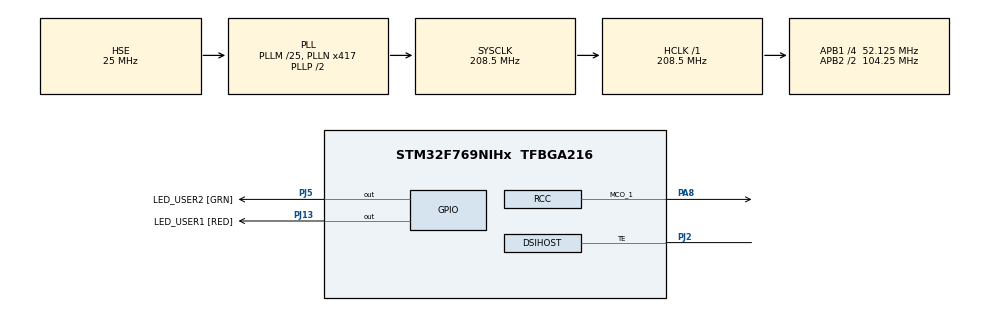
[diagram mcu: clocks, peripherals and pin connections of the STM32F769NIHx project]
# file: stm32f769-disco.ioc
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DSIHOST.AutomaticRefresh=DSI_AR_ENABLE
DSIHOST.BTA_FlowControl=__NULL
DSIHOST.LPDcsLongWrite=DSI_LP_DLW_ENABLE
DSIHOST.LPDcsShortReadNoP=DSI_LP_DSR0P_ENABLE
DSIHOST.LPDcsShortWriteNoP=DSI_LP_DSW0P_ENABLE
DSIHOST.LPDcsShortWriteOneP=DSI_LP_DSW1P_ENABLE
DSIHOST.LPGenLongWrite=DSI_LP_GLW_ENABLE
DSIHOST.LPGenShortReadNoP=DSI_LP_GSR0P_ENABLE
DSIHOST.LPGenShortReadOneP=DSI_LP_GSR1P_ENABLE
DSIHOST.LPGenShortReadTwoP=DSI_LP_GSR2P_ENABLE
DSIHOST.LPGenShortWriteNoP=DSI_LP_GSW0P_ENABLE
DSIHOST.LPGenShortWriteOneP=DSI_LP_GSW1P_ENABLE
DSIHOST.LPGenShortWriteTwoP=DSI_LP_GSW2P_ENABLE
DSIHOST.LPMaxReadPacket=DSI_LP_MRDP_ENABLE
DSIHOST.NumberOfLanes=DSI_TWO_DATA_LANES
DSIHOST.StopWaitTime=10
DSIHOST_CKN.Mode=DSIHost_Adapted_TE
DSIHOST_CKN.Signal=DSIHOST_CKN
DSIHOST_CKP.Mode=DSIHost_Adapted_TE
DSIHOST_CKP.Signal=DSIHOST_CKP
DSIHOST_D0N.Mode=DSIHost_Adapted_TE
DSIHOST_D0N.Signal=DSIHOST_D0N
DSIHOST_D0P.Mode=DSIHost_Adapted_TE
DSIHOST_D0P.Signal=DSIHOST_D0P
DSIHOST_D1N.Mode=DSIHost_Adapted_TE
DSIHOST_D1N.Signal=DSIHOST_D1N
DSIHOST_D1P.Mode=DSIHost_Adapted_TE
DSIHOST_D1P.Signal=DSIHOST_D1P
LTDC.ActiveH=480
LTDC.ActiveW=800
LTDC.FBStartAdress_L0=0xC0000000
LTDC.HBP=1
LTDC.HFP=1
LTDC.HSPolarity=LTDC_HSPOLARITY_AL
LTDC.HSync=1
LTDC.ImageHeight_L0=480
LTDC.ImageWidth_L0=800
LTDC.Layers=0
LTDC.PCPolarity=LTDC_PCPOLARITY_IPC
LTDC.PixelFormat_L0=LTDC_PIXEL_FORMAT_RGB565
LTDC.VBP=1
LTDC.VFP=1
LTDC.VSPolarity=LTDC_VSPOLARITY_AL
LTDC.VSync=1
LTDC.WindowX1_L0=800
Mcu.Family=STM32F7
Mcu.Name=STM32F769NIHx
Mcu.Package=TFBGA216
NVIC.DMA2D_IRQn=true\:0\:0\:false\:false\:true\:true\:true\:true
NVIC.DSI_IRQn=true\:0\:0\:false\:false\:true\:true\:true\:true
NVIC.LTDC_IRQn=true\:0\:0\:false\:false\:true\:true\:true\:true
NVIC.PriorityGroup=NVIC_PRIORITYGROUP_4
PA8.Mode=Clock-out-1
PA8.Signal=RCC_MCO_1
PC14/OSC32_IN.Mode=LSE-External-Oscillator
PC14/OSC32_IN.Signal=RCC_OSC32_IN
PC15/OSC32_OUT.Mode=LSE-External-Oscillator
PC15/OSC32_OUT.Signal=RCC_OSC32_OUT
PH0/OSC_IN.Mode=HSE-External-Oscillator
PH0/OSC_IN.Signal=RCC_OSC_IN
PH1/OSC_OUT.Mode=HSE-External-Oscillator
PH1/OSC_OUT.Signal=RCC_OSC_OUT
PJ13.GPIO_Label=LED_USER1 [RED]
PJ13.Signal=GPIO_Output
PJ2.Mode=DSIHost_Adapted_TE
PJ2.Signal=DSIHOST_TE
PJ5.GPIO_Label=LED_USER2 [GRN]
PJ5.Signal=GPIO_Output
ProjectManager.HeapSize=0x200
ProjectManager.StackSize=0x400
ProjectManager.TargetToolchain=STM32CubeIDE
RCC.AHBFreq_Value=208500000
RCC.APB1CLKDivider=RCC_HCLK_DIV4
RCC.APB1Freq_Value=52125000
RCC.APB1TimFreq_Value=104250000
RCC.APB2CLKDivider=RCC_HCLK_DIV2
RCC.APB2Freq_Value=104250000
RCC.APB2TimFreq_Value=208500000
RCC.CortexFreq_Value=208500000
RCC.HCLKFreq_Value=208500000
RCC.HSE_VALUE=25000000
RCC.HSI_VALUE=16000000
RCC.PLLM=25
RCC.PLLN=417
RCC.PLLSAIN=417
RCC.PLLSAIR=5
RCC.PLLSourceVirtual=RCC_PLLSOURCE_HSE
RCC.PWREXT_OverDrive=PWREXT_OverDrive_ACTIVATED
RCC.PWR_Regulator_Voltage_Scale=PWR_REGULATOR_VOLTAGE_SCALE1
RCC.SYSCLKFreq_VALUE=208500000
RCC.SYSCLKSource=RCC_SYSCLKSOURCE_PLLCLK
RCC.USBFreq_Value=208500000
RCC.VCOOutputFreq_Value=417000000
VP_DMA2D_VS_DMA2D.Mode=DMA2D_Activate
VP_LTDC_DSIMode.Mode=RGB565
board=custom

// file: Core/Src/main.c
/* USER CODE BEGIN Header */
/**
  ******************************************************************************
  * @file           : main.c
  * @brief          : Main program body
  ******************************************************************************
  * @attention
  *
  * Copyright (c) 2023 STMicroelectronics.
  * All rights reserved.
  *
  * This software is licensed under terms that can be found in the LICENSE file
  * in the root directory of this software component.
  * If no LICENSE file comes with this software, it is provided AS-IS.
  *
  ******************************************************************************
  */
/* USER CODE END Header */
#include "main.h"
#include "dma2d.h"
#include "dsihost.h"
#include "ltdc.h"
#include "gpio.h"

/* USER CODE BEGIN Includes */
#include "STM32F769I-Discovery/stm32f769i_discovery.h"
#include "STM32F769I-Discovery/stm32f769i_discovery_lcd.h"
/* USER CODE END Includes */

void SystemClock_Config(void);

int main(void)
{
  /* USER CODE BEGIN 1 */

  /* Enable ICache */
  SCB_EnableICache();
  /* Enable DCACHE */
  SCB_EnableDCache();

  /* USER CODE END 1 */

  /* MCU Configuration--------------------------------------------------------*/

  /* Reset of all peripherals, Initializes the Flash interface and the Systick. */
  HAL_Init();

  /* Configure the system clock */
  SystemClock_Config();

  /* Initialize all configured peripherals */
  MX_GPIO_Init();
  MX_DSIHOST_DSI_Init();
  MX_LTDC_Init();
  MX_DMA2D_Init();
  /* USER CODE BEGIN 2 */
  BSP_LCD_Reset();

  HAL_DSI_Start(&hdsi);

  OTM8009A_Init(OTM8009A_FORMAT_RGB888, OTM8009A_ORIENTATION_LANDSCAPE);

  HAL_DSI_Stop(&hdsi);

  /* Configure the command mode */
  DSI_LPCmdTypeDef dsiLPCmdInit;
  dsiLPCmdInit.LPGenShortWriteNoP = DSI_LP_GSW0P_ENABLE;
  dsiLPCmdInit.LPGenShortWriteOneP = DSI_LP_GSW1P_ENABLE;
  dsiLPCmdInit.LPGenShortWriteTwoP = DSI_LP_GSW2P_ENABLE;
  dsiLPCmdInit.LPGenShortReadNoP = DSI_LP_GSR0P_ENABLE;
  dsiLPCmdInit.LPGenShortReadOneP = DSI_LP_GSR1P_ENABLE;
  dsiLPCmdInit.LPGenShortReadTwoP = DSI_LP_GSR2P_ENABLE;
  dsiLPCmdInit.LPGenLongWrite = DSI_LP_GLW_ENABLE;
  dsiLPCmdInit.LPDcsShortWriteNoP = DSI_LP_DSW0P_ENABLE;
  dsiLPCmdInit.LPDcsShortWriteOneP = DSI_LP_DSW1P_ENABLE;
  dsiLPCmdInit.LPDcsShortReadNoP = DSI_LP_DSR0P_ENABLE;
  dsiLPCmdInit.LPDcsLongWrite = DSI_LP_DLW_DISABLE;
  dsiLPCmdInit.LPMaxReadPacket = DSI_LP_MRDP_ENABLE;
  dsiLPCmdInit.AcknowledgeRequest = DSI_ACKNOWLEDGE_DISABLE;

  /* Init the command mode */
  HAL_DSI_ConfigCommand(&hdsi, &dsiLPCmdInit);

  HAL_DSI_Start(&hdsi);

  HAL_DSI_Refresh(&hdsi);
  /* USER CODE END 2 */

  /* Infinite loop */
  while (1)
  {

  }
}

void SystemClock_Config(void)
{
  RCC_OscInitTypeDef RCC_OscInitStruct = {0};
  RCC_ClkInitTypeDef RCC_ClkInitStruct = {0};

  /** Configure LSE Drive Capability
  */
  HAL_PWR_EnableBkUpAccess();

  /** Configure the main internal regulator output voltage
  */
  __HAL_RCC_PWR_CLK_ENABLE();
  __HAL_PWR_VOLTAGESCALING_CONFIG(PWR_REGULATOR_VOLTAGE_SCALE1);

  /** Initializes the RCC Oscillators according to the specified parameters
  * in the RCC_OscInitTypeDef structure.
  */
  RCC_OscInitStruct.OscillatorType = RCC_OSCILLATORTYPE_HSI|RCC_OSCILLATORTYPE_HSE;
  RCC_OscInitStruct.HSEState = RCC_HSE_ON;
  RCC_OscInitStruct.HSIState = RCC_HSI_ON;
  RCC_OscInitStruct.HSICalibrationValue = RCC_HSICALIBRATION_DEFAULT;
  RCC_OscInitStruct.PLL.PLLState = RCC_PLL_ON;
  RCC_OscInitStruct.PLL.PLLSource = RCC_PLLSOURCE_HSE;
  RCC_OscInitStruct.PLL.PLLM = 25;
  RCC_OscInitStruct.PLL.PLLN = 417;
  RCC_OscInitStruct.PLL.PLLP = RCC_PLLP_DIV2;
  RCC_OscInitStruct.PLL.PLLQ = 2;
  RCC_OscInitStruct.PLL.PLLR = 2;
  if (HAL_RCC_OscConfig(&RCC_OscInitStruct) != HAL_OK)
  {
    Error_Handler();
  }

  /** Activate the Over-Drive mode
  */
  if (HAL_PWREx_EnableOverDrive() != HAL_OK)
  {
    Error_Handler();
  }

  /** Initializes the CPU, AHB and APB buses clocks
  */
  RCC_ClkInitStruct.ClockType = RCC_CLOCKTYPE_HCLK|RCC_CLOCKTYPE_SYSCLK
                              |RCC_CLOCKTYPE_PCLK1|RCC_CLOCKTYPE_PCLK2;
  RCC_ClkInitStruct.SYSCLKSource = RCC_SYSCLKSOURCE_PLLCLK;
  RCC_ClkInitStruct.AHBCLKDivider = RCC_SYSCLK_DIV1;
  RCC_ClkInitStruct.APB1CLKDivider = RCC_HCLK_DIV4;
  RCC_ClkInitStruct.APB2CLKDivider = RCC_HCLK_DIV2;

  if (HAL_RCC_ClockConfig(&RCC_ClkInitStruct, FLASH_LATENCY_6) != HAL_OK)
  {
    Error_Handler();
  }
  HAL_RCC_MCOConfig(RCC_MCO1, RCC_MCO1SOURCE_HSI, RCC_MCODIV_1);
}

void Error_Handler(void)
{
  __disable_irq();
  while (1)
  {
  }
}
